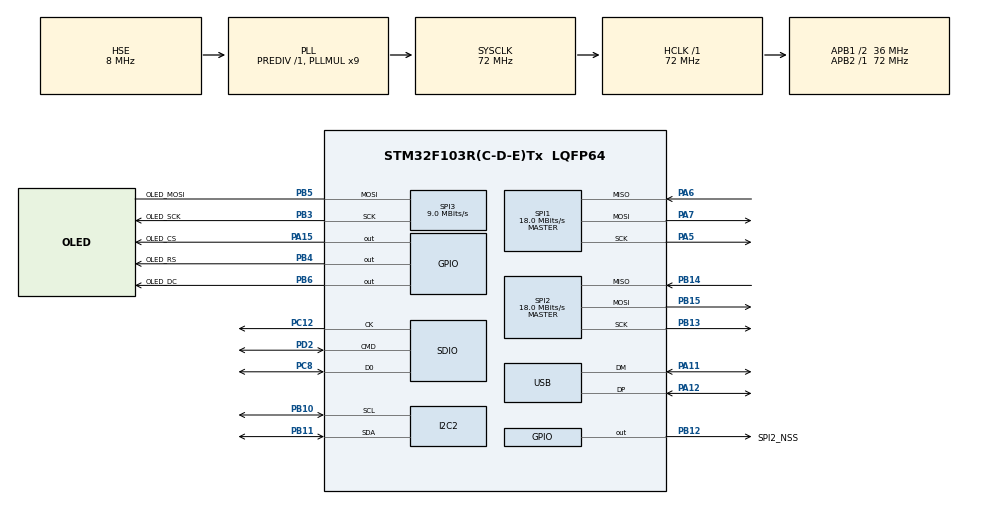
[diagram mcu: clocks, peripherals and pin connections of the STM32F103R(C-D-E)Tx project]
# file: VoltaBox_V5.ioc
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Dma.MEMTOMEM.2.Direction=DMA_MEMORY_TO_MEMORY
Dma.MEMTOMEM.2.Instance=DMA1_Channel1
Dma.MEMTOMEM.2.MemDataAlignment=DMA_MDATAALIGN_WORD
Dma.MEMTOMEM.2.MemInc=DMA_MINC_DISABLE
Dma.MEMTOMEM.2.Mode=DMA_NORMAL
Dma.MEMTOMEM.2.PeriphDataAlignment=DMA_PDATAALIGN_WORD
Dma.MEMTOMEM.2.PeriphInc=DMA_PINC_ENABLE
Dma.MEMTOMEM.2.Priority=DMA_PRIORITY_LOW
Dma.Request0=SPI2_RX
Dma.Request1=SPI2_TX
Dma.Request2=MEMTOMEM
Dma.Request3=SPI3_RX
Dma.Request4=SPI3_TX
Dma.Request5=SDIO
Dma.SDIO.5.Direction=DMA_PERIPH_TO_MEMORY
Dma.SDIO.5.Instance=DMA2_Channel4
Dma.SDIO.5.MemDataAlignment=DMA_MDATAALIGN_WORD
Dma.SDIO.5.MemInc=DMA_MINC_ENABLE
Dma.SDIO.5.Mode=DMA_NORMAL
Dma.SDIO.5.PeriphDataAlignment=DMA_PDATAALIGN_WORD
Dma.SDIO.5.PeriphInc=DMA_PINC_DISABLE
Dma.SDIO.5.Priority=DMA_PRIORITY_LOW
Dma.SPI2_RX.0.Direction=DMA_PERIPH_TO_MEMORY
Dma.SPI2_RX.0.Instance=DMA1_Channel4
Dma.SPI2_RX.0.MemDataAlignment=DMA_MDATAALIGN_HALFWORD
Dma.SPI2_RX.0.MemInc=DMA_MINC_ENABLE
Dma.SPI2_RX.0.Mode=DMA_NORMAL
Dma.SPI2_RX.0.PeriphDataAlignment=DMA_PDATAALIGN_HALFWORD
Dma.SPI2_RX.0.PeriphInc=DMA_PINC_DISABLE
Dma.SPI2_RX.0.Priority=DMA_PRIORITY_LOW
Dma.SPI2_TX.1.Direction=DMA_MEMORY_TO_PERIPH
Dma.SPI2_TX.1.Instance=DMA1_Channel5
Dma.SPI2_TX.1.MemDataAlignment=DMA_MDATAALIGN_HALFWORD
Dma.SPI2_TX.1.MemInc=DMA_MINC_ENABLE
Dma.SPI2_TX.1.Mode=DMA_NORMAL
Dma.SPI2_TX.1.PeriphDataAlignment=DMA_PDATAALIGN_HALFWORD
Dma.SPI2_TX.1.PeriphInc=DMA_PINC_DISABLE
Dma.SPI2_TX.1.Priority=DMA_PRIORITY_LOW
Dma.SPI3_RX.3.Direction=DMA_PERIPH_TO_MEMORY
Dma.SPI3_RX.3.Instance=DMA2_Channel1
Dma.SPI3_RX.3.MemDataAlignment=DMA_MDATAALIGN_BYTE
Dma.SPI3_RX.3.MemInc=DMA_MINC_ENABLE
Dma.SPI3_RX.3.Mode=DMA_NORMAL
Dma.SPI3_RX.3.PeriphDataAlignment=DMA_PDATAALIGN_BYTE
Dma.SPI3_RX.3.PeriphInc=DMA_PINC_DISABLE
Dma.SPI3_RX.3.Priority=DMA_PRIORITY_LOW
Dma.SPI3_TX.4.Direction=DMA_MEMORY_TO_PERIPH
Dma.SPI3_TX.4.Instance=DMA2_Channel2
Dma.SPI3_TX.4.MemDataAlignment=DMA_MDATAALIGN_BYTE
Dma.SPI3_TX.4.MemInc=DMA_MINC_ENABLE
Dma.SPI3_TX.4.Mode=DMA_NORMAL
Dma.SPI3_TX.4.PeriphDataAlignment=DMA_PDATAALIGN_BYTE
Dma.SPI3_TX.4.PeriphInc=DMA_PINC_DISABLE
Dma.SPI3_TX.4.Priority=DMA_PRIORITY_LOW
FATFS._FS_NORTC=0
Mcu.Family=STM32F1
Mcu.Name=STM32F103R(C-D-E)Tx
Mcu.Package=LQFP64
NVIC.DMA1_Channel4_IRQn=true\:0\:0\:false\:false\:true\:false
NVIC.DMA1_Channel5_IRQn=true\:0\:0\:false\:false\:true\:false
NVIC.DMA2_Channel1_IRQn=true\:0\:0\:false\:false\:true\:false
NVIC.DMA2_Channel2_IRQn=true\:0\:0\:false\:false\:true\:false
NVIC.DMA2_Channel4_5_IRQn=true\:0\:0\:false\:false\:true\:false
NVIC.PriorityGroup=NVIC_PRIORITYGROUP_4
NVIC.TIM3_IRQn=true\:0\:0\:false\:false\:true\:true
NVIC.USB_LP_CAN1_RX0_IRQn=true\:0\:0\:false\:false\:true\:false
PA11.Mode=Device
PA11.Signal=USB_DM
PA12.Mode=Device
PA12.Signal=USB_DP
PA13.Mode=Serial_Wire
PA13.Signal=SYS_JTMS-SWDIO
PA14.Mode=Serial_Wire
PA14.Signal=SYS_JTCK-SWCLK
PA15.GPIO_Label=OLED_CS
PA15.Signal=GPIO_Output
PA5.Mode=Full_Duplex_Master
PA5.Signal=SPI1_SCK
PA6.Mode=Full_Duplex_Master
PA6.Signal=SPI1_MISO
PA7.Mode=Full_Duplex_Master
PA7.Signal=SPI1_MOSI
PB10.Mode=I2C
PB10.Signal=I2C2_SCL
PB11.Mode=I2C
PB11.Signal=I2C2_SDA
PB12.GPIO_Label=SPI2_NSS
PB12.Signal=GPIO_Output
PB13.Mode=Full_Duplex_Master
PB13.Signal=SPI2_SCK
PB14.Mode=Full_Duplex_Master
PB14.Signal=SPI2_MISO
PB15.Mode=Full_Duplex_Master
PB15.Signal=SPI2_MOSI
PB3.GPIO_Label=OLED_SCK
PB3.Mode=Simplex_Bidirectional_Master
PB3.Signal=SPI3_SCK
PB4.GPIO_Label=OLED_RS
PB4.Signal=GPIO_Output
PB5.GPIO_Label=OLED_MOSI
PB5.Mode=Simplex_Bidirectional_Master
PB5.Signal=SPI3_MOSI
PB6.GPIO_Label=OLED_DC
PB6.Signal=GPIO_Output
PC12.Mode=SD_1_bit
PC12.Signal=SDIO_CK
PC14-OSC32_IN.Mode=LSE-External-Oscillator
PC14-OSC32_IN.Signal=RCC_OSC32_IN
PC15-OSC32_OUT.Mode=LSE-External-Oscillator
PC15-OSC32_OUT.Signal=RCC_OSC32_OUT
PC8.Mode=SD_1_bit
PC8.Signal=SDIO_D0
PD0-OSC_IN.Mode=HSE-External-Oscillator
PD0-OSC_IN.Signal=RCC_OSC_IN
PD1-OSC_OUT.Mode=HSE-External-Oscillator
PD1-OSC_OUT.Signal=RCC_OSC_OUT
PD2.Mode=SD_1_bit
PD2.Signal=SDIO_CMD
ProjectManager.HeapSize=0x200
ProjectManager.StackSize=0x400
ProjectManager.TargetToolchain=SW4STM32
RCC.AHBFreq_Value=72000000
RCC.APB1CLKDivider=RCC_HCLK_DIV2
RCC.APB1Freq_Value=36000000
RCC.APB1TimFreq_Value=72000000
RCC.APB2Freq_Value=72000000
RCC.APB2TimFreq_Value=72000000
RCC.HCLKFreq_Value=72000000
RCC.PLLMUL=RCC_PLL_MUL9
RCC.RTCClockSelection=RCC_RTCCLKSOURCE_LSE
RCC.SYSCLKFreq_VALUE=72000000
RCC.SYSCLKSource=RCC_SYSCLKSOURCE_PLLCLK
RCC.USBFreq_Value=48000000
RCC.USBPrescaler=RCC_USBCLKSOURCE_PLL_DIV1_5
SDIO.ClockDiv=16
SPI1.BaudRatePrescaler=SPI_BAUDRATEPRESCALER_4
SPI1.CalculateBaudRate=18.0 MBits/s
SPI1.Direction=SPI_DIRECTION_2LINES
SPI1.Mode=SPI_MODE_MASTER
SPI1.VirtualType=VM_MASTER
SPI2.CalculateBaudRate=18.0 MBits/s
SPI2.DataSize=SPI_DATASIZE_16BIT
SPI2.Direction=SPI_DIRECTION_2LINES
SPI2.Mode=SPI_MODE_MASTER
SPI2.VirtualType=VM_MASTER
SPI3.BaudRatePrescaler=SPI_BAUDRATEPRESCALER_4
SPI3.CalculateBaudRate=9.0 MBits/s
SPI3.Direction=SPI_DIRECTION_1LINE
SPI3.Mode=SPI_MODE_MASTER
SPI3.VirtualType=VM_MASTER
TIM3.Period=9
TIM3.Prescaler=719
USB.ep0_mps=DEP0CTL_MPS_64
USB_DEVICE.CLASS_NAME_FS=CDC
USB_DEVICE.MANUFACTURER_STRING=Yandex, LLC
USB_DEVICE.PRODUCT_STRING_CDC_FS=VoltaBox
USB_DEVICE.VirtualMode=Cdc
USB_DEVICE.VirtualModeFS=Cdc_FS
VP_FATFS_VS_SDIO.Mode=SDIO
VP_TIM3_VS_ClockSourceINT.Mode=Internal
VP_USB_DEVICE_VS_USB_DEVICE_CDC_FS.Mode=CDC_FS
board=custom

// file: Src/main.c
/**
  ******************************************************************************
  * @file           : main.c
  * @brief          : Main program body
  ******************************************************************************
  * This notice applies to any and all portions of this file
  * that are not between comment pairs USER CODE BEGIN and
  * USER CODE END. Other portions of this file, whether
  * inserted by the user or by software development tools
  * are owned by their respective copyright owners.
  *
  * Copyright (c) 2018 STMicroelectronics International N.V.
  * All rights reserved.
  *
  * Redistribution and use in source and binary forms, with or without
  * modification, are permitted, provided that the following conditions are met:
  *
  * 1. Redistribution of source code must retain the above copyright notice,
  *    this list of conditions and the following disclaimer.
  * 2. Redistributions in binary form must reproduce the above copyright notice,
  *    this list of conditions and the following disclaimer in the documentation
  *    and/or other materials provided with the distribution.
  * 3. Neither the name of STMicroelectronics nor the names of other
  *    contributors to this software may be used to endorse or promote products
  *    derived from this software without specific written permission.
  * 4. This software, including modifications and/or derivative works of this
  *    software, must execute solely and exclusively on microcontroller or
  *    microprocessor devices manufactured by or for STMicroelectronics.
  * 5. Redistribution and use of this software other than as permitted under
  *    this license is void and will automatically terminate your rights under
  *    this license.
  *
  * THIS SOFTWARE IS PROVIDED BY STMICROELECTRONICS AND CONTRIBUTORS "AS IS"
  * AND ANY EXPRESS, IMPLIED OR STATUTORY WARRANTIES, INCLUDING, BUT NOT
  * LIMITED TO, THE IMPLIED WARRANTIES OF MERCHANTABILITY, FITNESS FOR A
  * PARTICULAR PURPOSE AND NON-INFRINGEMENT OF THIRD PARTY INTELLECTUAL PROPERTY
  * RIGHTS ARE DISCLAIMED TO THE FULLEST EXTENT PERMITTED BY LAW. IN NO EVENT
  * SHALL STMICROELECTRONICS OR CONTRIBUTORS BE LIABLE FOR ANY DIRECT, INDIRECT,
  * INCIDENTAL, SPECIAL, EXEMPLARY, OR CONSEQUENTIAL DAMAGES (INCLUDING, BUT NOT
  * LIMITED TO, PROCUREMENT OF SUBSTITUTE GOODS OR SERVICES; LOSS OF USE, DATA,
  * OR PROFITS; OR BUSINESS INTERRUPTION) HOWEVER CAUSED AND ON ANY THEORY OF
  * LIABILITY, WHETHER IN CONTRACT, STRICT LIABILITY, OR TORT (INCLUDING
  * NEGLIGENCE OR OTHERWISE) ARISING IN ANY WAY OUT OF THE USE OF THIS SOFTWARE,
  * EVEN IF ADVISED OF THE POSSIBILITY OF SUCH DAMAGE.
  *
  ******************************************************************************
  */
#include "main.h"
#include "stm32f1xx_hal.h"
#include "fatfs.h"
#include "usb_device.h"

/* USER CODE BEGIN Includes */
#include "usbd_cdc_if.h"
#include "buffer.h"
#include "cp1251.h"

#define SENDBUF_SIZE rb.size>>1

#define fontSizeX 5
#define fontSizeY 8

#define scrSizeX 128
#define scrSizeY 64

#define cNum scrSizeX/fontSizeX
#define lNum scrSizeY/fontSizeY

#define printClearL	1

#define bufSizeForUSB	32
#define bufSizeForCard	4096
/* USER CODE END Includes */

I2C_HandleTypeDef hi2c2;

SD_HandleTypeDef hsd;
DMA_HandleTypeDef hdma_sdio;

SPI_HandleTypeDef hspi1;
SPI_HandleTypeDef hspi2;
SPI_HandleTypeDef hspi3;
DMA_HandleTypeDef hdma_spi2_rx;
DMA_HandleTypeDef hdma_spi2_tx;
DMA_HandleTypeDef hdma_spi3_rx;
DMA_HandleTypeDef hdma_spi3_tx;

TIM_HandleTypeDef htim3;

DMA_HandleTypeDef hdma_memtomem_dma1_channel1;

/* USER CODE BEGIN PV */
/* Private variables ---------------------------------------------------------*/
const char *errMsg[20]={"FR_OK", "FR_DISK_ERR", "FR_INT_ERR", "FR_NOT_READY", "FR_NO_FILE",
	  	    			"FR_NO_PATH", "FR_INVALID_NAME", "FR_DENIED", "FR_EXIST", "FR_INVALID_OBJECT",
	  	    			"FR_WRITE_PROTECTED", "FR_INVALID_DRIVE", "FR_NOT_ENABLED","FR_NO_FILESYSTEM",
	  	    			"FR_MKFS_ABORTED", "FR_TIMEOUT", "FR_LOCKED", "FR_NOT_ENOUGH_CORE",
	  	    			"FR_TOO_MANY_OPEN_FILES", "FR_INVALID_PARAMETER"};
const uint8_t cmd_read_current[] = { 0x03, 0x82, 0x00, 0x00 };
const uint8_t cmd_read_voltage[] = { 0x01, 0x82, 0x00, 0x00 };
const uint8_t cmd_read[] = { 0x03, 0x82, 0x00, 0x00, 0x00, 0x00 };
struct ringbuf_t rb;
int isCardHere = 0;
/* USER CODE END PV */

void SystemClock_Config(void);
static void MX_GPIO_Init(void);
static void MX_DMA_Init(void);
static void MX_SPI1_Init(void);
static void MX_SPI2_Init(void);
static void MX_SPI3_Init(void);
static void MX_TIM3_Init(void);
static void MX_I2C2_Init(void);
static void MX_SDIO_SD_Init(void);

/* USER CODE BEGIN PFP */
/* Private function prototypes -----------------------------------------------*/

/* USER CODE END PFP */

/* USER CODE BEGIN 0 */
void delay(int t)
{
  while(t--) __asm("nop");
}

uint16_t overSampleISum = 0;
uint16_t overSampleUSum = 0;
//uint8_t overSampleCount = 0;

void HAL_TIM_PeriodElapsedCallback(TIM_HandleTypeDef *htim) {
  if (htim->Instance == TIM3) {
	  uint8_t receive_buffer[4];// = { 0x00, 0x00, 0x00, 0x00, 0x00, 0x00 };

	  int i;
	  for(i = 0; i < 4 * (~isCardHere&0b1) + isCardHere; i++)
	  {
		  HAL_GPIO_WritePin(SPI2_NSS_GPIO_Port, SPI2_NSS_Pin, GPIO_PIN_RESET);
		  HAL_SPI_TransmitReceive(&hspi2, cmd_read_current, receive_buffer,	2, HAL_MAX_DELAY);
		  HAL_GPIO_WritePin(SPI2_NSS_GPIO_Port, SPI2_NSS_Pin, GPIO_PIN_SET);
		  uint16_t current_value = ((uint16_t) receive_buffer[3] << 8) + (uint16_t) receive_buffer[2];
		  HAL_GPIO_WritePin(SPI2_NSS_GPIO_Port, SPI2_NSS_Pin, GPIO_PIN_RESET);
		  HAL_SPI_TransmitReceive(&hspi2, cmd_read_voltage, receive_buffer, 2, HAL_MAX_DELAY);
		  HAL_GPIO_WritePin(SPI2_NSS_GPIO_Port, SPI2_NSS_Pin, GPIO_PIN_SET);
		  uint16_t voltage_value = ((uint16_t) receive_buffer[3] << 8) + (uint16_t) receive_buffer[2];
		  overSampleISum += current_value;
		  overSampleUSum += voltage_value;
		//delay(50);//@72MHz
	  }
	  rb_push(&rb, overSampleISum);
	  //rb_push(&rb, overSampleUSum);
	  overSampleISum = 0;
	  overSampleUSum = 0;

	  /*if(overSampleCount < 4 * ~isCardHere&0b1 + isCardHere)
	  {
		rb_push(&rb, overSampleISum);
		//rb_push(&rb, overSampleUSum);
		overSampleISum = 0;
		overSampleUSum = 0;
	  }
	  else
	  {
		  overSampleCount++;
	  }*/

	  //GPIOA->BSRR = SPI2_NSS_Pin;

  }
}

void fSetCurTime(TCHAR* fname)
{
  /*FILINFO fTime;
  RTC_TimeTypeDef curTime;
  RTC_DateTypeDef curDate;
  HAL_RTC_GetTime(&hrtc, &curTime, RTC_FORMAT_BIN);
  HAL_RTC_GetDate(&hrtc, &curDate, RTC_FORMAT_BIN);
  fTime.fdate = (WORD)(((curDate.Year - 1980) * 512U) | curDate.Month * 32U | curDate.Date);
  fTime.ftime = (WORD)(curTime.Hours * 2048U | curTime.Minutes * 32U | curTime.Seconds / 2U);
  f_utime(fname, &fTime);*/
}

uint8_t curX=0, curY=0;
void print(char *text, uint8_t posC, uint8_t posL, uint8_t *scr, uint8_t flag)
{
	int i;
	if(flag&printClearL)
	{
		for(i = 0; i < 128; i++)
			scr[posL*scrSizeX + i] = 0;
	}
	for(i = 0; text[i]!='\0'; i++)
	{
		int x;
		for(x = 0; x < fontSizeX; x++)
			scr[posL*scrSizeX + posC*fontSizeX + x] = sym[text[i]*fontSizeX + x];
		posC++;
	}
}

void oledInit()
{
	uint8_t data[5] = {0x8D, 0x14, 0xAF, 0x20, 0x00};
	GPIOA->BSRR = OLED_CS_Pin << 16;
	GPIOB->BSRR = OLED_DC_Pin << 16 | OLED_RS_Pin << 16;
	HAL_Delay(0);
	GPIOB->BSRR = OLED_RS_Pin;
	HAL_SPI_Transmit(&hspi3, data, sizeof(data), 1000);
}
uint8_t scr[1024];
void oledUpdate(uint8_t *screen)
{
	GPIOA->BSRR = OLED_CS_Pin << 16;
	GPIOB->BSRR = OLED_DC_Pin;
	HAL_SPI_Transmit_DMA(&hspi3, screen, 1024);											//TODO ENABLE UPDATE
}

uint8_t logC, logL, logStartL = 0, logLCount = 0;
int8_t logOldL = 0;
char logData[8][26];//25 Actually + 1 for null character

void toLog(char *msg)
{
	int i;
	if(logLCount > 7)
	{
		if(logOldL > 7)
			logOldL = 0;
		strcpy(logData[logOldL], msg);
		int L = 0;
		for(i = logOldL+1; i < 8; i++, L++)
			print(logData[i], 0, L, scr, printClearL);
		for(i = 0; i < logOldL+1; i++, L++)
			print(logData[i], 0, L, scr, printClearL);
		logOldL++;
	}
	else
	{
		logLCount++;
		strcpy(logData[logLCount-1], msg);
		print(msg, 0, logLCount-1, scr, printClearL);
	}
}

void testScr(uint8_t *screen)
{
	int i;
	for(i = 0; i < 1024; i++)
	{
		scr[i]=0xAA;
		i++;
		scr[i]=0x55;
	}
}

void clrScreen(uint8_t *screen)
{
	int i;
	for(i = 0; i < 1024; i++)
		screen[i] = 0x00;
}

/* USER CODE END 0 */

int main(void)
{
  /* USER CODE BEGIN 1 */
	  uint16_t *buff;// = (uint16_t*)malloc(bufSizeForCard);

  /* USER CODE END 1 */

  /* MCU Configuration----------------------------------------------------------*/

  /* Reset of all peripherals, Initializes the Flash interface and the Systick. */
  HAL_Init();

  /* Configure the system clock */
  SystemClock_Config();

  /* Initialize all configured peripherals */
  MX_GPIO_Init();
  MX_DMA_Init();
  MX_SPI1_Init();
  MX_SPI2_Init();
  MX_SPI3_Init();
  MX_USB_DEVICE_Init();
  MX_TIM3_Init();
  MX_I2C2_Init();
  MX_SDIO_SD_Init();
  MX_FATFS_Init();
  /* USER CODE BEGIN 2 */
  oledInit();
  clrScreen(scr);
  print("VoltaBox_v5", 5, 2, scr, 0);
  //priint("14bit/10kHz in USB", 0, 3, scr, 0);
  oledUpdate(scr);

  FATFS sdFiles;
  FIL test;
  FIL measureStat;
  int ret;

  /*toLog("Sheep counter v5.");
  oledUpdate(scr);
  HAL_Delay(500);
  int sheep = 0;
  while(1)
  {
	  char tmp[25];
	  sprintf(tmp, "Counting sheep %d", sheep);
	  toLog(tmp);
	  oledUpdate(scr);
	  HAL_Delay(500);
	  sheep++;
  }*/

  unsigned int writtenCount;
  if(f_mount(&sdFiles, SDPath, 1)==FR_OK)
  {
	  toLog("Sdcard found!");
	  toLog("f_mount OK");
	  oledUpdate(scr);
	  int i;
	  char fname[16];
	  for(i = 0; i < 999; i++)
	  {
		  sprintf(fname, "MEASURE.%03d", i);
		  int status = f_stat(fname, NULL);
	  	  if(status==FR_NO_FILE)
	  		  break;
	  }
	  if(f_open(&measureStat, fname, FA_WRITE | FA_CREATE_ALWAYS) == FR_OK)
	  {
		  char tmp[25];
		  sprintf(tmp, "%s created!", fname);
		  toLog(tmp);
		  oledUpdate(scr);
		  //f_write(&measureStat, "Start\n", 6, &writtenCount);//TODO: d4$
		  //f_sync(&measureStat);
		  //f_write(&measureStat, "Test\n", 5, &writtenCount);
		  //f_sync(&measureStat);

		  isCardHere = 1;
	  }
  }
  else
  {
	  ret = f_mkfs(SDPath, 0, 0);
  }

  // wait USB enumeration
  HAL_Delay(1000);

//  testScr(scr);
  //print("Test", 3, 3, scr);
  //oledUpdate(scr);
  HAL_TIM_Base_Start_IT(&htim3);
  if(!isCardHere)
  {
	  rb_init(&rb, bufSizeForUSB);
	  buff = (uint16_t*)malloc(bufSizeForUSB);
	  toLog("USB mode. TIM3 started.");
  }
  else
  {
	  rb_init(&rb, bufSizeForCard);
	  buff = (uint16_t*)malloc(bufSizeForCard);
	  //htim3.Init.Prescaler = 719;//																TODO добавить 9-ку.
	  //HAL_TIM_Base_Init(&htim3);
	  toLog("SD mode. TIM3 started.");
  }
  oledUpdate(scr);

 // uint32_t gpioPattern[8]={SPI2_NSS_Pin, SPI2_NSS_Pin << 16, SPI2_NSS_Pin, SPI2_NSS_Pin << 16, SPI2_NSS_Pin, SPI2_NSS_Pin << 16, SPI2_NSS_Pin, SPI2_NSS_Pin << 16};
  //while(1)
//	  HAL_DMA_Start(&hdma_memtomem_dma1_channel1, gpioPattern, &SPI2_NSS_GPIO_Port->BSRR, 8);

  /*while(1)																	//УБРАТЬ
  {
	  f_write(&measureStat, "Test\n", 5, &writtenCount);
	  f_sync(&measureStat);
	  HAL_Delay(1000);

  }*/
  //TIM_CCxChannelCmd()

  //HAL_DMA_
  /* USER CODE END 2 */

  /* Infinite loop */
  /* USER CODE BEGIN WHILE */

  uint16_t syncTimer = 0, sCount = 0, eCount = 0;
  while (1)
  {

  /* USER CODE END WHILE */

  /* USER CODE BEGIN 3 */

	  uint8_t status;
	  if (rb_remain(&rb) > SENDBUF_SIZE) {
		  	  int i;
	  	      for (i = 0; i < SENDBUF_SIZE; i++)
	  	        buff[i] = rb_pop(&rb);
	  	      if(!isCardHere){
	  	    	while (CDC_Transmit_FS((uint8_t*) buff, bufSizeForUSB) == USBD_BUSY);
	  	      }
	  	      else
	  	      {
	  	    	status = f_write(&measureStat, (uint8_t*) buff, bufSizeForCard, &writtenCount);
	  	    	if(status !=FR_OK)
	  	    	{
	  	    		toLog("Something happened:");
					toLog("f_write returned:");
					toLog(errMsg[status]);
	  	    		status = f_write(&measureStat + writtenCount, (uint8_t*) buff, bufSizeForCard - writtenCount, &writtenCount);
	  	    		if(status!=FR_OK)
					{
	  	    			toLog("Retrying");
						toLog("f_write returned:");
						toLog(errMsg[status]);
						HAL_TIM_Base_Stop(&htim3);
						char tmp[21];
						sprintf(tmp, "Writes = %d", sCount);
						toLog(tmp);
						sprintf(tmp, "Errors = %d", eCount);
						toLog(tmp);
					}
	  	    		oledUpdate(scr);
	  	    	}
	  	    	if(syncTimer == 16)
	  	    	{
	  	    		status = f_sync(&measureStat);
	  	    		char tmp[25];
	  	    		if(status == FR_OK)
	  	    		{
	  	    			sCount++;
	  	    			sprintf(tmp, "SD success No %d.", sCount);
	  	    			toLog(tmp);
	  	    		}
	  	    		else
	  	    		{
	  	    			eCount++;
	  	    			sprintf(tmp, "SD error No %d", eCount);
	  	    			toLog(errMsg[status]);
						toLog(tmp);
	  	    		}
	  	    		oledUpdate(scr);
	  	    		syncTimer = 0;
	  	    	}
	  	    	else
	  	    		syncTimer++;
	  	      }
	  }
  }
  /* USER CODE END 3 */

}

void SystemClock_Config(void)
{

  RCC_OscInitTypeDef RCC_OscInitStruct;
  RCC_ClkInitTypeDef RCC_ClkInitStruct;
  RCC_PeriphCLKInitTypeDef PeriphClkInit;

    /**Initializes the CPU, AHB and APB busses clocks
    */
  RCC_OscInitStruct.OscillatorType = RCC_OSCILLATORTYPE_HSE;
  RCC_OscInitStruct.HSEState = RCC_HSE_ON;
  RCC_OscInitStruct.HSEPredivValue = RCC_HSE_PREDIV_DIV1;
  RCC_OscInitStruct.HSIState = RCC_HSI_ON;
  RCC_OscInitStruct.PLL.PLLState = RCC_PLL_ON;
  RCC_OscInitStruct.PLL.PLLSource = RCC_PLLSOURCE_HSE;
  RCC_OscInitStruct.PLL.PLLMUL = RCC_PLL_MUL9;
  if (HAL_RCC_OscConfig(&RCC_OscInitStruct) != HAL_OK)
  {
    _Error_Handler(__FILE__, __LINE__);
  }

    /**Initializes the CPU, AHB and APB busses clocks
    */
  RCC_ClkInitStruct.ClockType = RCC_CLOCKTYPE_HCLK|RCC_CLOCKTYPE_SYSCLK
                              |RCC_CLOCKTYPE_PCLK1|RCC_CLOCKTYPE_PCLK2;
  RCC_ClkInitStruct.SYSCLKSource = RCC_SYSCLKSOURCE_PLLCLK;
  RCC_ClkInitStruct.AHBCLKDivider = RCC_SYSCLK_DIV1;
  RCC_ClkInitStruct.APB1CLKDivider = RCC_HCLK_DIV2;
  RCC_ClkInitStruct.APB2CLKDivider = RCC_HCLK_DIV1;

  if (HAL_RCC_ClockConfig(&RCC_ClkInitStruct, FLASH_LATENCY_2) != HAL_OK)
  {
    _Error_Handler(__FILE__, __LINE__);
  }

  PeriphClkInit.PeriphClockSelection = RCC_PERIPHCLK_USB;
  PeriphClkInit.UsbClockSelection = RCC_USBCLKSOURCE_PLL_DIV1_5;
  if (HAL_RCCEx_PeriphCLKConfig(&PeriphClkInit) != HAL_OK)
  {
    _Error_Handler(__FILE__, __LINE__);
  }

    /**Configure the Systick interrupt time
    */
  HAL_SYSTICK_Config(HAL_RCC_GetHCLKFreq()/1000);

    /**Configure the Systick
    */
  HAL_SYSTICK_CLKSourceConfig(SYSTICK_CLKSOURCE_HCLK);

  /* SysTick_IRQn interrupt configuration */
  HAL_NVIC_SetPriority(SysTick_IRQn, 0, 0);
}

/* I2C2 init function */
static void MX_I2C2_Init(void)
{

  hi2c2.Instance = I2C2;
  hi2c2.Init.ClockSpeed = 100000;
  hi2c2.Init.DutyCycle = I2C_DUTYCYCLE_2;
  hi2c2.Init.OwnAddress1 = 0;
  hi2c2.Init.AddressingMode = I2C_ADDRESSINGMODE_7BIT;
  hi2c2.Init.DualAddressMode = I2C_DUALADDRESS_DISABLE;
  hi2c2.Init.OwnAddress2 = 0;
  hi2c2.Init.GeneralCallMode = I2C_GENERALCALL_DISABLE;
  hi2c2.Init.NoStretchMode = I2C_NOSTRETCH_DISABLE;
  if (HAL_I2C_Init(&hi2c2) != HAL_OK)
  {
    _Error_Handler(__FILE__, __LINE__);
  }

}

/* SDIO init function */
static void MX_SDIO_SD_Init(void)
{

  hsd.Instance = SDIO;
  hsd.Init.ClockEdge = SDIO_CLOCK_EDGE_RISING;
  hsd.Init.ClockBypass = SDIO_CLOCK_BYPASS_DISABLE;
  hsd.Init.ClockPowerSave = SDIO_CLOCK_POWER_SAVE_DISABLE;
  hsd.Init.BusWide = SDIO_BUS_WIDE_1B;
  hsd.Init.HardwareFlowControl = SDIO_HARDWARE_FLOW_CONTROL_DISABLE;
  hsd.Init.ClockDiv = 16;

}

/* SPI1 init function */
static void MX_SPI1_Init(void)
{

  /* SPI1 parameter configuration*/
  hspi1.Instance = SPI1;
  hspi1.Init.Mode = SPI_MODE_MASTER;
  hspi1.Init.Direction = SPI_DIRECTION_2LINES;
  hspi1.Init.DataSize = SPI_DATASIZE_8BIT;
  hspi1.Init.CLKPolarity = SPI_POLARITY_LOW;
  hspi1.Init.CLKPhase = SPI_PHASE_1EDGE;
  hspi1.Init.NSS = SPI_NSS_SOFT;
  hspi1.Init.BaudRatePrescaler = SPI_BAUDRATEPRESCALER_4;
  hspi1.Init.FirstBit = SPI_FIRSTBIT_MSB;
  hspi1.Init.TIMode = SPI_TIMODE_DISABLE;
  hspi1.Init.CRCCalculation = SPI_CRCCALCULATION_DISABLE;
  hspi1.Init.CRCPolynomial = 10;
  if (HAL_SPI_Init(&hspi1) != HAL_OK)
  {
    _Error_Handler(__FILE__, __LINE__);
  }

}

/* SPI2 init function */
static void MX_SPI2_Init(void)
{

  /* SPI2 parameter configuration*/
  hspi2.Instance = SPI2;
  hspi2.Init.Mode = SPI_MODE_MASTER;
  hspi2.Init.Direction = SPI_DIRECTION_2LINES;
  hspi2.Init.DataSize = SPI_DATASIZE_16BIT;
  hspi2.Init.CLKPolarity = SPI_POLARITY_LOW;
  hspi2.Init.CLKPhase = SPI_PHASE_1EDGE;
  hspi2.Init.NSS = SPI_NSS_SOFT;
  hspi2.Init.BaudRatePrescaler = SPI_BAUDRATEPRESCALER_2;
  hspi2.Init.FirstBit = SPI_FIRSTBIT_MSB;
  hspi2.Init.TIMode = SPI_TIMODE_DISABLE;
  hspi2.Init.CRCCalculation = SPI_CRCCALCULATION_DISABLE;
  hspi2.Init.CRCPolynomial = 10;
  if (HAL_SPI_Init(&hspi2) != HAL_OK)
  {
    _Error_Handler(__FILE__, __LINE__);
  }

}

/* SPI3 init function */
static void MX_SPI3_Init(void)
{

  /* SPI3 parameter configuration*/
  hspi3.Instance = SPI3;
  hspi3.Init.Mode = SPI_MODE_MASTER;
  hspi3.Init.Direction = SPI_DIRECTION_1LINE;
  hspi3.Init.DataSize = SPI_DATASIZE_8BIT;
  hspi3.Init.CLKPolarity = SPI_POLARITY_LOW;
  hspi3.Init.CLKPhase = SPI_PHASE_1EDGE;
  hspi3.Init.NSS = SPI_NSS_SOFT;
  hspi3.Init.BaudRatePrescaler = SPI_BAUDRATEPRESCALER_4;
  hspi3.Init.FirstBit = SPI_FIRSTBIT_MSB;
  hspi3.Init.TIMode = SPI_TIMODE_DISABLE;
  hspi3.Init.CRCCalculation = SPI_CRCCALCULATION_DISABLE;
  hspi3.Init.CRCPolynomial = 10;
  if (HAL_SPI_Init(&hspi3) != HAL_OK)
  {
    _Error_Handler(__FILE__, __LINE__);
  }

}

/* TIM3 init function */
static void MX_TIM3_Init(void)
{

  TIM_ClockConfigTypeDef sClockSourceConfig;
  TIM_MasterConfigTypeDef sMasterConfig;

  htim3.Instance = TIM3;
  htim3.Init.Prescaler = 719;
  htim3.Init.CounterMode = TIM_COUNTERMODE_UP;
  htim3.Init.Period = 9;
  htim3.Init.ClockDivision = TIM_CLOCKDIVISION_DIV1;
  htim3.Init.AutoReloadPreload = TIM_AUTORELOAD_PRELOAD_DISABLE;
  if (HAL_TIM_Base_Init(&htim3) != HAL_OK)
  {
    _Error_Handler(__FILE__, __LINE__);
  }

  sClockSourceConfig.ClockSource = TIM_CLOCKSOURCE_INTERNAL;
  if (HAL_TIM_ConfigClockSource(&htim3, &sClockSourceConfig) != HAL_OK)
  {
    _Error_Handler(__FILE__, __LINE__);
  }

  sMasterConfig.MasterOutputTrigger = TIM_TRGO_RESET;
  sMasterConfig.MasterSlaveMode = TIM_MASTERSLAVEMODE_DISABLE;
  if (HAL_TIMEx_MasterConfigSynchronization(&htim3, &sMasterConfig) != HAL_OK)
  {
    _Error_Handler(__FILE__, __LINE__);
  }

}

static void MX_DMA_Init(void)
{
  /* DMA controller clock enable */
  __HAL_RCC_DMA1_CLK_ENABLE();
  __HAL_RCC_DMA2_CLK_ENABLE();

  /* Configure DMA request hdma_memtomem_dma1_channel1 on DMA1_Channel1 */
  hdma_memtomem_dma1_channel1.Instance = DMA1_Channel1;
  hdma_memtomem_dma1_channel1.Init.Direction = DMA_MEMORY_TO_MEMORY;
  hdma_memtomem_dma1_channel1.Init.PeriphInc = DMA_PINC_ENABLE;
  hdma_memtomem_dma1_channel1.Init.MemInc = DMA_MINC_DISABLE;
  hdma_memtomem_dma1_channel1.Init.PeriphDataAlignment = DMA_PDATAALIGN_WORD;
  hdma_memtomem_dma1_channel1.Init.MemDataAlignment = DMA_MDATAALIGN_WORD;
  hdma_memtomem_dma1_channel1.Init.Mode = DMA_NORMAL;
  hdma_memtomem_dma1_channel1.Init.Priority = DMA_PRIORITY_LOW;
  if (HAL_DMA_Init(&hdma_memtomem_dma1_channel1) != HAL_OK)
  {
    _Error_Handler(__FILE__, __LINE__);
  }

  /* DMA interrupt init */
  /* DMA1_Channel4_IRQn interrupt configuration */
  HAL_NVIC_SetPriority(DMA1_Channel4_IRQn, 0, 0);
  HAL_NVIC_EnableIRQ(DMA1_Channel4_IRQn);
  /* DMA1_Channel5_IRQn interrupt configuration */
  HAL_NVIC_SetPriority(DMA1_Channel5_IRQn, 0, 0);
  HAL_NVIC_EnableIRQ(DMA1_Channel5_IRQn);
  /* DMA2_Channel1_IRQn interrupt configuration */
  HAL_NVIC_SetPriority(DMA2_Channel1_IRQn, 0, 0);
  HAL_NVIC_EnableIRQ(DMA2_Channel1_IRQn);
  /* DMA2_Channel2_IRQn interrupt configuration */
  HAL_NVIC_SetPriority(DMA2_Channel2_IRQn, 0, 0);
  HAL_NVIC_EnableIRQ(DMA2_Channel2_IRQn);
  /* DMA2_Channel4_5_IRQn interrupt configuration */
  HAL_NVIC_SetPriority(DMA2_Channel4_5_IRQn, 0, 0);
  HAL_NVIC_EnableIRQ(DMA2_Channel4_5_IRQn);

}

/** Configure pins as
        * Analog
        * Input
        * Output
        * EVENT_OUT
        * EXTI
*/
static void MX_GPIO_Init(void)
{

  GPIO_InitTypeDef GPIO_InitStruct;

  /* GPIO Ports Clock Enable */
  __HAL_RCC_GPIOC_CLK_ENABLE();
  __HAL_RCC_GPIOD_CLK_ENABLE();
  __HAL_RCC_GPIOA_CLK_ENABLE();
  __HAL_RCC_GPIOB_CLK_ENABLE();

  /*Configure GPIO pin Output Level */
  HAL_GPIO_WritePin(GPIOB, SPI2_NSS_Pin|OLED_RS_Pin|OLED_DC_Pin, GPIO_PIN_RESET);

  /*Configure GPIO pin Output Level */
  HAL_GPIO_WritePin(OLED_CS_GPIO_Port, OLED_CS_Pin, GPIO_PIN_RESET);

  /*Configure GPIO pins : SPI2_NSS_Pin OLED_RS_Pin OLED_DC_Pin */
  GPIO_InitStruct.Pin = SPI2_NSS_Pin|OLED_RS_Pin|OLED_DC_Pin;
  GPIO_InitStruct.Mode = GPIO_MODE_OUTPUT_PP;
  GPIO_InitStruct.Pull = GPIO_NOPULL;
  GPIO_InitStruct.Speed = GPIO_SPEED_FREQ_LOW;
  HAL_GPIO_Init(GPIOB, &GPIO_InitStruct);

  /*Configure GPIO pin : OLED_CS_Pin */
  GPIO_InitStruct.Pin = OLED_CS_Pin;
  GPIO_InitStruct.Mode = GPIO_MODE_OUTPUT_PP;
  GPIO_InitStruct.Pull = GPIO_NOPULL;
  GPIO_InitStruct.Speed = GPIO_SPEED_FREQ_LOW;
  HAL_GPIO_Init(OLED_CS_GPIO_Port, &GPIO_InitStruct);

}

void _Error_Handler(char *file, int line)
{
  while(1)
  {
  }
}

/************************ (C) COPYRIGHT STMicroelectronics *****END OF FILE****/
